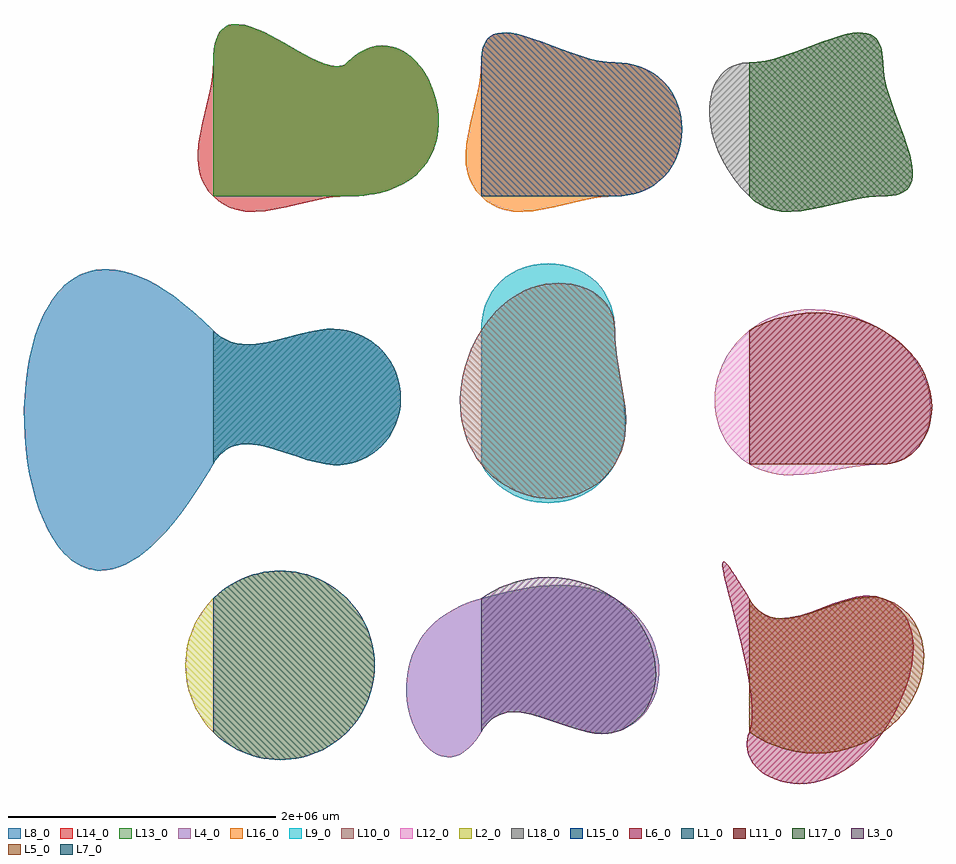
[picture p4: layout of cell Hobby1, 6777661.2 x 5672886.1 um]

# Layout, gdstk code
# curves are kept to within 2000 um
import gdstk
lib = gdstk.Library(unit=1e-6, precision=1e-07)
def P(c, l, *ps):  # polygons
    for p in ps: c.add(gdstk.Polygon(p, *l))
L1_0 = (1, 0)
L2_0 = (2, 0)
L3_0 = (3, 0)
L4_0 = (4, 0)
L5_0 = (5, 0)
L6_0 = (6, 0)
L7_0 = (7, 0)
L8_0 = (8, 0)
L9_0 = (9, 0)
L10_0 = (10, 0)
L11_0 = (11, 0)
L12_0 = (12, 0)
L13_0 = (13, 0)
L14_0 = (14, 0)
L15_0 = (15, 0)
L16_0 = (16, 0)
L17_0 = (17, 0)
L18_0 = (18, 0)

hobby1 = lib.new_cell('Hobby1')
P(hobby1, L1_0, [(0,0),(42665.3,-39350.3),(87646.8,-74558.4),(134687.1,-105624.5),(221187.8,-150023),(259606.7,-165167.7),(338290.2,-188467.2),(418710.8,-202446.9),(500000,-207106.8),(581289.2,-202446.9),(661709.8,-188467.2),(740393.3,-165167.7),(778812.2,-150023),(865312.9,-105624.5),(912353.2,-74558.4),(957334.7,-39350.3),(1000000,0),(1039350.3,42665.3),(1074558.4,87646.8),(1105624.5,134687.1),(1150023,221187.8),(1165167.7,259606.7),(1188467.2,338290.2),(1202446.9,418710.8),(1207106.8,500000),(1202446.9,581289.2),(1188467.2,661709.8),(1165167.7,740393.3),(1150023,778812.2),(1105624.5,865312.9),(1074558.4,912353.2),(1039350.3,957334.7),(1000000,1000000),(957334.7,1039350.3),(912353.2,1074558.4),(865312.9,1105624.5),(778812.2,1150023),(740393.3,1165167.7),(661709.8,1188467.2),(581289.2,1202446.9),(500000,1207106.8),(418710.8,1202446.9),(338290.2,1188467.2),(259606.7,1165167.7),(221187.8,1150023),(134687.1,1105624.5),(87646.8,1074558.4),(42665.3,1039350.3),(0,1000000)])
P(hobby1, L2_0, [(0,0),(42665.3,-39350.3),(87646.8,-74558.4),(134687.1,-105624.5),(221187.8,-150023),(259606.7,-165167.7),(338290.2,-188467.2),(418710.8,-202446.9),(500000,-207106.8),(581289.2,-202446.9),(661709.8,-188467.2),(740393.3,-165167.7),(778812.2,-150023),(865312.9,-105624.5),(912353.2,-74558.4),(957334.7,-39350.3),(1000000,0),(1039350.3,42665.3),(1074558.4,87646.8),(1105624.5,134687.1),(1150023,221187.8),(1165167.7,259606.7),(1188467.2,338290.2),(1202446.9,418710.8),(1207106.8,500000),(1202446.9,581289.2),(1188467.2,661709.8),(1165167.7,740393.3),(1150023,778812.2),(1105624.5,865312.9),(1074558.4,912353.2),(1039350.3,957334.7),(1000000,1000000),(957334.7,1039350.3),(912353.2,1074558.4),(865312.9,1105624.5),(778812.2,1150023),(740393.3,1165167.7),(661709.8,1188467.2),(581289.2,1202446.9),(500000,1207106.8),(418710.8,1202446.9),(338290.2,1188467.2),(259606.7,1165167.7),(221187.8,1150023),(134687.1,1105624.5),(87646.8,1074558.4),(42665.3,1039350.3),(0,1000000),(-39350.3,957334.7),(-74558.4,912353.2),(-105624.5,865312.9),(-150023,778812.2),(-165167.7,740393.3),(-188467.2,661709.8),(-202446.9,581289.2),(-207106.8,500000),(-202446.9,418710.8),(-188467.2,338290.2),(-165167.7,259606.7),(-150023,221187.8),(-105624.5,134687.1),(-74558.4,87646.8),(-39350.3,42665.3)])
P(hobby1, L3_0, [(2000000,0),(2034470.6,50468),(2052967,71249.1),(2092306.8,104570.5),(2113080.2,117376.8),(2156658.5,135945.8),(2190982.1,144233.2),(2226579.9,148185.5),(2301125.2,144880.9),(2379348.4,129623.3),(2460303.8,106004.2),(2710104.6,20891.2),(2792530.3,-260.5),(2846429.7,-9252.5),(2899161.3,-12915.9),(2975456,-6091.8),(3056091.7,20681.9),(3106710.3,47820.1),(3151783.9,80853),(3191240.6,119218.8),(3217103.8,151155),(3239736.8,185538),(3275190.7,260696.7),(3287950.9,300998.5),(3303386.6,385861.9),(3305173.4,474825.5),(3300872.7,520252.4),(3281731.6,611811.7),(3248335.2,702731.7),(3200441,791116.8),(3160337.4,847695.6),(3113610.6,901743.6),(3060188.8,952699),(3000000,1000000),(2954368.4,1030368.2),(2907357.4,1057539.7),(2809809.8,1102292.9),(2734168,1127466.5),(2656974.2,1145447.7),(2578745.8,1156236.4),(2500000,1159832.6),(2421254.2,1156236.4),(2343025.8,1145447.7),(2265832,1127466.5),(2190190.2,1102292.9),(2092642.6,1057539.7),(2045631.6,1030368.2),(2000000,1000000)])
P(hobby1, L4_0, [(2000000,0),(2034256,50191.1),(2052643.1,70895.9),(2091763.1,104175.1),(2112427.1,117010),(2155790.8,135721.6),(2189959,144179.9),(2225408.4,148347.5),(2299685.5,145569.3),(2377691.4,130903.8),(2458495.5,107867.5),(2708392,23701.2),(2791083.5,2348.8),(2845238.3,-6985.1),(2898293.2,-11182.5),(2949972.3,-9201.5),(3000000,0),(3059732.7,20476.1),(3113778.7,47954.9),(3138637.8,64117.6),(3183965.8,100883.5),(3232265,154330.2),(3256710.2,189905.7),(3277703.2,227777.1),(3295201.6,267670.5),(3319545.7,352427.7),(3329404.6,441986.5),(3328796.5,487881.9),(3316293.8,580535),(3288461,672512.3),(3244959.9,761622.8),(3217228.2,804418.3),(3149591.2,885120.6),(3095346.7,934421.8),(3065441,957478.8),(3000000,1000000),(2954422,1024156.2),(2860753.1,1061646.8),(2812793.6,1075356.9),(2739632.8,1090156.5),(2665203,1098600.9),(2589725.9,1101324.1),(2513423.1,1098960),(2436516.3,1092142.8),(2359227.1,1081506.3),(2204388,1051311.9),(2000000,1000000),(1925804.3,977210),(1857666.3,950458.8),(1795408,920050),(1738851.6,886287.7),(1687819.2,849475.4),(1642133.1,809917),(1601615.3,767916.2),(1542610.8,689451.8),(1521765.5,654222.7),(1487671.2,581565.5),(1474272.1,544393.7),(1454394.9,469004.5),(1447766.7,431043.4),(1440756,355228.9),(1441572.8,280412.6),(1449616.7,207619.6),(1464287.7,137875.3),(1484985.4,72204.8),(1511109.7,11633.6),(1559157.9,-67419.6),(1596222.5,-110757.4),(1636612.9,-145407.6),(1679728.8,-170345),(1702121.3,-178850.9),(1748200.1,-187296.6),(1779637,-186170.3),(1811440.4,-179284.2),(1843432.5,-166334.5),(1875435.6,-147017.5),(1907271.7,-121029.3),(1938763,-88066.2),(1969731.8,-47824.3)])
P(hobby1, L5_0, [(4000000,0),(4045631.6,-30368.2),(4140879.9,-81514.6),(4190190.2,-102292.9),(4265832,-127466.5),(4343025.8,-145447.7),(4421254.2,-156236.4),(4500000,-159832.6),(4578745.8,-156236.4),(4656974.2,-145447.7),(4734168,-127466.5),(4809809.8,-102292.9),(4859120.1,-81514.6),(4954368.4,-30368.2),(5000000,0),(5060188.8,47301),(5113610.6,98256.4),(5160337.4,152304.4),(5200441,208883.2),(5226215.5,252640.4),(5248335.2,297268.3),(5281731.6,388188.3),(5293068.9,434006.5),(5305173.4,525174.5),(5306001.2,570050.3),(5297359.7,657200.8),(5275190.7,739303.3),(5259109.2,777869.1),(5217103.8,848845),(5191240.6,880781.2),(5151783.9,919147),(5106710.3,952179.9),(5056091.7,979318.1),(5028725.5,990501.2),(5000000,1000000),(4950444.8,1010186.4),(4899161.3,1012915.9),(4846429.7,1009252.5),(4792530.3,1000260.5),(4710104.6,979108.8),(4460303.8,893995.8),(4379348.4,870376.7),(4301125.2,855119.1),(4263333.7,851748.2),(4190982.1,855766.8),(4156658.5,864054.2),(4113080.2,882623.2),(4072257.5,910761.1),(4052967,928750.9),(4016803.3,973237.4),(4000000,1000000)])
P(hobby1, L6_0, [(4000000,0),(3985506.6,-51946.1),(3982653.6,-77475.2),(3985235.6,-127211.2),(3998202.3,-174605.3),(4027797,-229496.5),(4052093.7,-259589.4),(4080883.4,-287192.7),(4113828.9,-312013.3),(4150593.1,-333758.1),(4190838.8,-352134.2),(4234229,-366848.2),(4280426.5,-377607.3),(4329094.2,-384118.3),(4379895.1,-386088.2),(4432491.8,-383223.8),(4486547.4,-375232),(4541724.7,-361819.9),(4597686.6,-342694.3),(4654096,-317562.1),(4710615.7,-286130.2),(4785564.3,-233915.1),(4859310.6,-169284.8),(4895483.2,-132096.9),(4965927.8,-47541.3),(5000000,0),(5037796.7,58140.6),(5104595.1,177548),(5152464.3,283707.8),(5184848,374519.1),(5208591.6,463967.8),(5223071.7,550923),(5227664.5,634253.7),(5226058.4,674206.4),(5214651.4,749979.6),(5204694.6,785517.4),(5175884.7,851188.4),(5156875.7,881038.9),(5126580.8,917426.3),(5090459.7,949605.7),(5048327.6,977242),(4976359.6,1008008.5),(4952178.3,1013794.8),(4902342.2,1019273.1),(4850789.2,1017579),(4797816.8,1009856.5),(4716347.6,989472.3),(4466836.3,900994.1),(4345422.9,865275.7),(4268019.7,853467.9),(4230756.3,852613.3),(4194619.2,855768.4),(4159733.7,863415.9),(4115383.9,881435),(4094220.1,894118.7),(4054100.7,927549.7),(4035219.5,948583),(4017173.5,972685.4),(3916978.6,1139344.7),(3868379.3,1213642.1),(3827475,1264428.2),(3816694,1272722),(3805923.8,1273328),(3801080.4,1260735.3),(3801539.8,1236072.2),(3815869.8,1155047.7),(3941309.2,657097.6),(3978061.8,490811.6),(4006066,330400.3),(4017409.3,231180.4),(4021165.7,141257.5),(4015855.8,63305.9)])
P(hobby1, L7_0, [(0,2000000),(33605.5,2049345.4),(51663.4,2069814.5),(90125.1,2102955.1),(110463.1,2115870.5),(153189.4,2135001.1),(186898.6,2143966.6),(221911.3,2148775.7),(295403.4,2147571.1),(372778.4,2134679.4),(453149,2113392.8),(703361.3,2032085.7),(786841.2,2010141.6),(841748.8,1999790.1),(895753,1993999.1),(948591.1,1993743.9),(1000000,2000000),(1038380,2008861.8),(1109452.5,2033530.7),(1172902.4,2066655.7),(1201754.1,2086087.8),(1253682.1,2130088.1),(1287551.4,2167107.4),(1317047.1,2207119.6),(1342149.6,2249717.5),(1362839,2294494),(1379095.6,2341042.2),(1390899.5,2388955),(1398230.9,2437825.4),(1401070.1,2487246.2),(1399397.3,2536810.6),(1393192.6,2586111.4),(1382436.3,2634741.6),(1367108.6,2682294.1),(1347189.6,2728362),(1322659.7,2772538.2),(1293499,2814415.5),(1259687.6,2853587.1),(1207337.4,2900903.4),(1178034,2922184.7),(1113141.4,2959391),(1077540.5,2975074.6),(1000000,3000000),(949646.3,3009298.5),(898476.7,3012842.5),(846633.4,3011428),(794258.5,3005850.9),(715010.6,2991421.6),(398856.4,2911681.6),(322426.8,2899672.5),(248000.6,2896206.5),(176057.6,2903969.7),(129712.3,2916710.3),(62974.6,2949158.7),(20543.8,2980843.4),(0,3000000)])
P(hobby1, L8_0, [(0,2000000),(33605.5,2049345.4),(51663.4,2069814.5),(90125.1,2102955.1),(110463.1,2115870.5),(153189.4,2135001.1),(186898.6,2143966.6),(221911.3,2148775.7),(295403.4,2147571.1),(372778.4,2134679.4),(453149,2113392.8),(703361.3,2032085.7),(786841.2,2010141.6),(841748.8,1999790.1),(895753,1993999.1),(948591.1,1993743.9),(1000000,2000000),(1038380,2008861.8),(1109452.5,2033530.7),(1172902.4,2066655.7),(1201754.1,2086087.8),(1253682.1,2130088.1),(1287551.4,2167107.4),(1317047.1,2207119.6),(1342149.6,2249717.5),(1362839,2294494),(1379095.6,2341042.2),(1390899.5,2388955),(1398230.9,2437825.4),(1401070.1,2487246.2),(1399397.3,2536810.6),(1393192.6,2586111.4),(1382436.3,2634741.6),(1367108.6,2682294.1),(1347189.6,2728362),(1322659.7,2772538.2),(1293499,2814415.5),(1234553.3,2877997.3),(1178034,2922184.7),(1146637.3,2941720.8),(1077540.5,2975074.6),(1039828.6,2988651.2),(1000000,3000000),(949646.3,3009298.5),(898476.7,3012842.5),(846633.4,3011428),(794258.5,3005850.9),(715010.6,2991421.6),(398856.4,2911681.6),(322426.8,2899672.5),(248000.6,2896206.5),(211688.7,2898516.5),(176057.6,2903969.7),(129712.3,2916710.3),(84826.1,2936431.6),(41541.3,2963929.5),(-152782.3,3142682.8),(-225629.6,3203178.9),(-296135.3,3256708.8),(-364315.1,3303470.3),(-430184.8,3343661.5),(-493760,3377480.3),(-555056.6,3405124.5),(-614090.2,3426792.2),(-670876.7,3442681.2),(-725431.6,3452989.5),(-777770.8,3457915.1),(-827910,3457655.9),(-875865,3452409.7),(-921651.4,3442374.7),(-996606.9,3413885.3),(-1026733.3,3397634.3),(-1083426.3,3358303.7),(-1110006.2,3335391),(-1159665.9,3283488.4),(-1225504.6,3191694),(-1263707.5,3122178.3),(-1297420.5,3046786.4),(-1326696.9,2966186.4),(-1351589.7,2881046.3),(-1372152,2792034.1),(-1388437,2699817.9),(-1400497.6,2605065.8),(-1408387.1,2508445.6),(-1412158.5,2410625.6),(-1411865,2312273.7),(-1407559.6,2214058),(-1399295.4,2116646.5),(-1387125.6,2020707.3),(-1371103.2,1926908.3),(-1351281.4,1835917.7),(-1327713.2,1748403.4),(-1300451.7,1665033.5),(-1269550.1,1586476.1),(-1235061.5,1513399.2),(-1197038.9,1446470.8),(-1155535.5,1386358.9),(-1086870,1310433.5),(-1036896.8,1270285.7),(-983628.7,1239292.6),(-955775.6,1227437.8),(-897664.5,1211429.4),(-836391.3,1206245.7),(-793811.8,1209133.5),(-749866.3,1217327.3),(-704570.4,1231024.8),(-657939.9,1250424.1),(-609990.5,1275723),(-560738,1307119.6),(-510198,1344811.7),(-458386.3,1388997.3),(-351010.8,1497640.7),(-295478.4,1562494.4),(-180803.2,1714255.3),(-121691.8,1801558.5)])
P(hobby1, L9_0, [(2000000,2000000),(2035750,1945151.7),(2076000,1896077),(2120250,1852775.7),(2168000,1815247.9),(2205808.6,1790890.9),(2245093.7,1769781.6),(2327250,1737305.6),(2412781.2,1717820.1),(2500000,1711324.9),(2587218.8,1717820.1),(2672750,1737305.6),(2754906.3,1769781.6),(2794191.4,1790890.9),(2832000,1815247.9),(2879750,1852775.7),(2924000,1896077),(2964250,1945151.7),(3000000,2000000),(3023571.8,2045643.8),(3042311.7,2092063.3),(3056611.4,2139205.8),(3066862.9,2187018.2),(3075506.4,2259877.6),(3077244.9,2333947.2),(3073400.6,2409048.5),(3065295.8,2485003.2),(3016715.7,2793785.8),(3004701.3,2897139),(2998156.2,3048750),(2992750,3095000),(2972000,3180000),(2957031.2,3218750),(2918843.7,3288750),(2896000,3320000),(2857574.2,3362187.5),(2814718.8,3398750),(2768066.4,3429687.5),(2718250,3455000),(2665902.3,3474687.5),(2611656.2,3488750),(2556144.5,3497187.5),(2500000,3500000),(2443855.5,3497187.5),(2388343.7,3488750),(2334097.7,3474687.5),(2281750,3455000),(2231933.6,3429687.5),(2185281.2,3398750),(2142425.8,3362187.5),(2104000,3320000),(2060750,3255000),(2028000,3180000),(2016031.2,3138750),(2001843.8,3048750)])
P(hobby1, L10_0, [(2000000,2000000),(2042452.2,1951441.4),(2088092.8,1907909.9),(2136522.9,1869419.7),(2187343.3,1835984.8),(2226787.4,1814234.6),(2267183.4,1795341.8),(2350157.6,1766152),(2434919.5,1748463),(2520122.4,1742322.2),(2604419.9,1747776.8),(2686465.2,1764874.3),(2764911.9,1793662.1),(2802364.9,1812454.7),(2838413.4,1834187.6),(2884002,1867748.9),(2926395.3,1906562),(2965194.3,1950641),(3000000,2000000),(3025249.9,2044993.1),(3045324,2090879.1),(3060641.8,2137597),(3077265.6,2221171.5),(3082744.3,2331567.9),(3078626.3,2406690.6),(3069944.4,2482793.3),(3017905.8,2792889.8),(3005036,2896732.1),(2998780.6,3029459.2),(2989299.4,3085346.4),(2971038.2,3136921.6),(2958843.7,3160990.8),(2928784.2,3205489.5),(2901638,3235519),(2870890.6,3262529.8),(2836850.5,3286384.9),(2799826.4,3306947.3),(2760127,3324080.1),(2718060.9,3337646.5),(2673936.9,3347509.5),(2628063.4,3353532.1),(2580749.3,3355577.5),(2532303,3353508.8),(2483033.4,3347189),(2433249,3336481.2),(2383258.5,3321248.5),(2333370.6,3301353.9),(2283893.8,3276660.6),(2235136.9,3247031.7),(2171781,3199612),(2110985.1,3142849.9),(2081775.8,3110864),(2026191.8,3039479.6),(2000000,3000000),(1971676.4,2952275.4),(1922836.3,2853504.8),(1902453.6,2802765),(1877114.5,2725392.7),(1858257.9,2646964.8),(1846109.5,2567998),(1840895.1,2489009),(1842840.4,2410514.6),(1852171.1,2333031.6),(1869113.1,2257076.7),(1880508.9,2219833.7),(1914876.7,2135284.4),(1939511.6,2088693.9),(1967863.8,2043548)])
P(hobby1, L11_0, [(4000000,2000000),(5000000,2000000),(5030208.1,2001253.1),(5087540.3,2010988.3),(5114579.8,2019277.1),(5165194.4,2042213.9),(5210908.2,2072985.3),(5241774.1,2100740.3),(5269550.5,2132141.3),(5294094.9,2166862.1),(5315264.6,2204576.7),(5332917.1,2244958.7),(5346909.8,2287682.2),(5357100,2332420.9),(5363345.2,2378848.8),(5365502.7,2426639.5),(5363430,2475467.1),(5356984.5,2525005.3),(5346023.6,2574928.1),(5330404.6,2624909.2),(5309985,2674622.5),(5284622.2,2723741.8),(5254173.6,2771941.1),(5205417.7,2834211.9),(5147028.8,2893494),(5078668.9,2949014.4),(5000000,3000000),(4905169.4,3048230.9),(4806892.5,3085743.7),(4731441.5,3106844.7),(4654900.1,3121916.9),(4577631.8,3130960.2),(4500000,3133974.6),(4422368.2,3130960.2),(4345099.9,3121916.9),(4268558.5,3106844.7),(4193107.5,3085743.7),(4143592.1,3068327),(4046930.7,3025455.2),(4000000,3000000)])
P(hobby1, L12_0, [(4000000,2000000),(4044993.1,1974750.1),(4090879.1,1954676),(4137597,1939358.2),(4221171.5,1922734.4),(4331567.9,1917255.7),(4406690.6,1921373.7),(4482793.3,1930055.6),(4792889.8,1982094.2),(4896732.1,1994964),(5057921.5,2004816.8),(5111693.2,2018779.4),(5160990.8,2041156.3),(5205489.5,2071215.8),(5235519,2098362),(5262529.8,2129109.4),(5286384.9,2163149.5),(5306947.3,2200173.6),(5324080.1,2239873),(5337646.5,2281939.1),(5347509.5,2326063.1),(5353532.1,2371936.6),(5355577.5,2419250.7),(5353508.8,2467697),(5347189,2516966.6),(5336481.2,2566751),(5321248.5,2616741.5),(5301353.9,2666629.4),(5276660.6,2716106.2),(5224469.4,2796815.3),(5172419,2858982.7),(5110864,2918224.2),(5039479.6,2973808.2),(4952275.4,3028323.6),(4903392.6,3054067.2),(4802765,3097546.4),(4725392.7,3122885.5),(4646964.8,3141742.1),(4567998,3153890.5),(4489009,3159104.9),(4410514.6,3157159.6),(4333031.6,3147828.9),(4257076.7,3130886.9),(4183166.6,3106107.9),(4088693.9,3060488.4),(4043548,3032136.2),(4000000,3000000),(3951441.4,2957547.8),(3907909.9,2911907.2),(3869419.7,2863477.1),(3835984.8,2812656.7),(3814234.6,2773212.6),(3779312.3,2691637.1),(3755867,2607600.7),(3743946.1,2522450),(3743597.1,2437531.5),(3754867.2,2354191.8),(3777804,2273777.5),(3793662.1,2235088.1),(3834187.6,2161586.6),(3867748.9,2115998),(3906562,2073604.7),(3950641,2034805.7)])
P(hobby1, L13_0, [(0,4000000),(1000000,4000000),(1086239.2,4002902.9),(1165863.8,4011378.1),(1239046.7,4025075.1),(1305961.1,4043643.4),(1366780.1,4066732.5),(1421676.6,4093992.2),(1470823.8,4125071.7),(1514394.6,4159620.9),(1569674,4217183.3),(1592937.2,4248226.6),(1631075.9,4314098.2),(1646097.3,4348630.8),(1668409.5,4420150.3),(1675846.3,4456841.6),(1683646.1,4531347.8),(1684155.3,4568867.1),(1678757.1,4643698.8),(1665290.3,4717269),(1644338.9,4788394.9),(1600156.2,4887913.4),(1563049,4947754),(1542418.8,4975279.2),(1497370.3,5024800.3),(1473098,5046500.4),(1421422.5,5083040.7),(1394165.3,5097585.2),(1337176.9,5118483.5),(1297586.5,5125873.9),(1256919.5,5127622.2),(1215348.9,5123377.8),(1173047.8,5112790.3),(1130189.4,5095509.2),(1086946.5,5071184.1),(1043492.4,5039464.5),(984165.5,4987354.4),(966185,4978677.6),(946190.9,4973707.6),(900691,4973839.2),(848724.2,4985652.2),(776284.4,5013650.6),(681112.6,5061249.2),(426412.7,5202339.7),(327201.9,5249034.6),(279954.6,5266755.8),(234874.9,5279546.6),(192409.2,5286522.1),(134588.7,5284146.8),(100611.7,5272713.9),(66282.4,5248050.1),(49491.1,5227969.9),(34920.1,5203208),(22701.7,5173502.4),(12968.2,5138591),(1485,5052101.9)])
P(hobby1, L14_0, [(0,4000000),(40061.2,3964689.4),(81911.5,3936616.9),(125427.1,3915195.8),(170484.2,3899839.1),(205214.2,3891948.3),(240689.3,3886891),(313666.2,3884286.8),(388997,3890045.5),(466263.8,3902186.6),(840162,3985034.6),(947119.1,3998141.5),(1126867.5,4006465.9),(1203249.6,4017595.8),(1305961.1,4043643.4),(1366780.1,4066732.5),(1421676.6,4093992.2),(1470823.8,4125071.7),(1514394.6,4159620.9),(1569674,4217183.3),(1592937.2,4248226.6),(1631075.9,4314098.2),(1646097.3,4348630.8),(1668409.5,4420150.3),(1675846.3,4456841.6),(1683646.1,4531347.8),(1684155.3,4568867.1),(1678757.1,4643698.8),(1665290.3,4717269),(1644338.9,4788394.9),(1600156.2,4887913.4),(1563049,4947754),(1542418.8,4975279.2),(1497370.3,5024800.3),(1473098,5046500.4),(1421422.5,5083040.7),(1394165.3,5097585.2),(1337176.9,5118483.5),(1297586.5,5125873.9),(1256919.5,5127622.2),(1215348.9,5123377.8),(1173047.8,5112790.3),(1130189.4,5095509.2),(1086946.5,5071184.1),(1043492.4,5039464.5),(984165.5,4987354.4),(966185,4978677.6),(946190.9,4973707.6),(900691,4973839.2),(848724.2,4985652.2),(776284.4,5013650.6),(681112.6,5061249.2),(426412.7,5202339.7),(327201.9,5249034.6),(279954.6,5266755.8),(234874.9,5279546.6),(192409.2,5286522.1),(134588.7,5284146.8),(100611.7,5272713.9),(66282.4,5248050.1),(49491.1,5227969.9),(34920.1,5203208),(22701.7,5173502.4),(12968.2,5138591),(1485,5052101.9),(-1858.5,4947119.1),(-14965.4,4840162),(-81270.7,4545048.8),(-97813.4,4466263.8),(-109954.5,4388997),(-115580.3,4276857.4),(-108051.7,4205214.2),(-100160.9,4170484.2),(-84804.2,4125427.1),(-63383.1,4081911.5),(-35310.6,4040061.2)])
P(hobby1, L15_0, [(2000000,4000000),(3048750,4001843.8),(3138750,4016031.3),(3180000,4028000),(3255000,4060750),(3320000,4104000),(3362187.5,4142425.8),(3398750,4185281.2),(3429687.5,4231933.6),(3455000,4281750),(3474687.5,4334097.7),(3488750,4388343.7),(3497187.5,4443855.5),(3500000,4500000),(3497187.5,4556144.5),(3488750,4611656.2),(3474687.5,4665902.3),(3455000,4718250),(3429687.5,4768066.4),(3398750,4814718.8),(3362187.5,4857574.2),(3320000,4896000),(3255000,4939250),(3180000,4972000),(3095000,4992750),(3048750,4998156.2),(2939437.5,5003589),(2876303.3,5013600.5),(2811211.3,5028901.2),(2643945.1,5082854.7),(2398281.4,5173746.4),(2265640,5212343.3),(2187677.8,5223464.6),(2152613.2,5223207.8),(2120505.1,5218435.2),(2091612.3,5208668.7),(2066193.9,5193430),(2051306.4,5179994.8),(2026816.2,5144623.9),(2009884.1,5096974.7),(2001123.8,5035913.9)])
P(hobby1, L16_0, [(2000000,4000000),(2040061.2,3964689.4),(2081911.5,3936616.9),(2125427.1,3915195.8),(2170484.2,3899839.1),(2205214.2,3891948.3),(2240689.3,3886891),(2313666.2,3884286.8),(2388997,3890045.5),(2466263.8,3902186.6),(2840162,3985034.6),(2947119.1,3998141.5),(3048750,4001843.8),(3095000,4007250),(3180000,4028000),(3255000,4060750),(3320000,4104000),(3362187.5,4142425.8),(3398750,4185281.2),(3429687.5,4231933.6),(3455000,4281750),(3474687.5,4334097.7),(3488750,4388343.7),(3497187.5,4443855.5),(3500000,4500000),(3497187.5,4556144.5),(3488750,4611656.2),(3474687.5,4665902.3),(3455000,4718250),(3429687.5,4768066.4),(3398750,4814718.8),(3362187.5,4857574.2),(3320000,4896000),(3255000,4939250),(3180000,4972000),(3095000,4992750),(3048750,4998156.2),(2939437.5,5003589),(2876303.3,5013600.5),(2811211.3,5028901.2),(2643945.1,5082854.7),(2398281.4,5173746.4),(2265640,5212343.3),(2187677.8,5223464.6),(2152613.2,5223207.8),(2120505.1,5218435.2),(2091612.3,5208668.7),(2066193.9,5193430),(2038154.9,5163773.3),(2017367,5122404.9),(2009884.1,5096974.7),(2001123.8,5035913.9),(1998141.5,4947119.1),(1985034.6,4840162),(1902186.6,4466263.8),(1890045.5,4388997),(1884286.8,4313666.2),(1886891,4240689.3),(1891948.3,4205214.2),(1899839.1,4170484.2),(1915195.8,4125427.1),(1936616.9,4081911.5),(1964689.4,4040061.2)])
P(hobby1, L17_0, [(4000000,4000000),(4040061.2,3964689.4),(4081911.5,3936616.9),(4125427.1,3915195.8),(4170484.2,3899839.1),(4205214.2,3891948.3),(4240689.3,3886891),(4313666.2,3884286.8),(4388997,3890045.5),(4466263.8,3902186.6),(4840162,3985034.6),(4947119.1,3998141.5),(5035913.9,4001123.8),(5096974.7,4009884.1),(5144623.9,4026816.2),(5163773.3,4038154.9),(5193430,4066193.9),(5208668.7,4091612.3),(5218435.2,4120505.1),(5223207.8,4152613.2),(5223464.6,4187677.8),(5212343.3,4265640),(5173746.4,4398281.4),(5082854.7,4643945.1),(5028901.2,4811211.3),(5013600.5,4876303.3),(5003589,4939437.5),(4995555.9,5068191.6),(4982633,5122404.9),(4961845.1,5163773.3),(4933806.1,5193430),(4908387.7,5208668.7),(4879494.9,5218435.2),(4847386.8,5223207.8),(4812322.2,5223464.6),(4734360,5212343.3),(4601718.6,5173746.4),(4356054.9,5082854.7),(4188788.7,5028901.2),(4123696.7,5013600.5),(4060562.5,5003589),(4000000,5000000)])
P(hobby1, L18_0, [(4000000,4000000),(4040061.2,3964689.4),(4081911.5,3936616.9),(4125427.1,3915195.8),(4170484.2,3899839.1),(4205214.2,3891948.3),(4240689.3,3886891),(4313666.2,3884286.8),(4388997,3890045.5),(4466263.8,3902186.6),(4840162,3985034.6),(4947119.1,3998141.5),(5035913.9,4001123.8),(5096974.7,4009884.1),(5144623.9,4026816.2),(5163773.3,4038154.9),(5193430,4066193.9),(5208668.7,4091612.3),(5218435.2,4120505.1),(5223207.8,4152613.2),(5223464.6,4187677.8),(5212343.3,4265640),(5173746.4,4398281.4),(5082854.7,4643945.1),(5028901.2,4811211.3),(5013600.5,4876303.3),(5003589,4939437.5),(4995555.9,5068191.6),(4982633,5122404.9),(4961845.1,5163773.3),(4933806.1,5193430),(4908387.7,5208668.7),(4879494.9,5218435.2),(4847386.8,5223207.8),(4774560.3,5219683.7),(4691980.2,5201921.5),(4601718.6,5173746.4),(4356054.9,5082854.7),(4188788.7,5028901.2),(4123696.7,5013600.5),(4060562.5,5003589),(3947774.8,4995807.3),(3900157.3,4983585.7),(3878122.8,4974631.1),(3837694.8,4951368.3),(3794178.1,4912940.8),(3771922.4,4885299.2),(3752633.9,4854494.2),(3736375,4820751.5),(3713196.7,4745354.8),(3706402.4,4704151.7),(3702716.2,4615863.8),(3705949.4,4569230),(3722881.2,4472110),(3754184,4371356.9),(3775380.9,4320181.7),(3800358.2,4268774.8),(3839650.1,4200261.5),(3885922.1,4132271.6),(3939322.7,4065339.6)])

lib.write_gds('Hobby1.gds')
